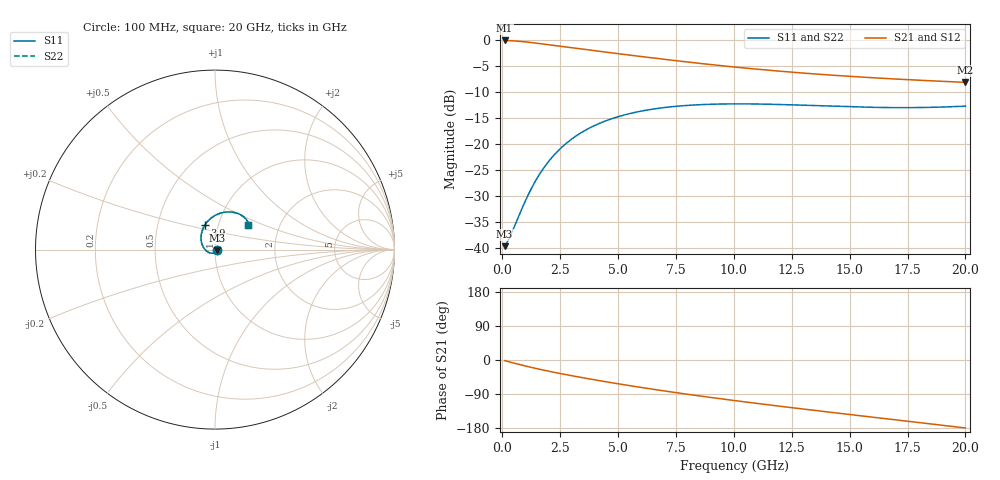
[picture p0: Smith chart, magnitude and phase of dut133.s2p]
! Touchstone file exported from HFSS 2023.1.0
!  File:  D:/Users/fzz/RDL_TSV/temp_RDL_TSV_133_1778751709.aedt
!  Generated:  5:55:17 %x4E0B%x5348  5%x6708 14, 2026
!  Design:  RDL_TSV
!  Project:  temp_RDL_TSV_133_1778751709
!  Setup:  Setup1
!  Solution:  Sweep
! Variables:
!  dtsv = 11.93um
!  hbump = 3um
!  htsv = 71.53um
!  ldown = 651.48um
!  lrdl = 150.13um
!  p = 40
!  p1 = 48.97um
!  rhole = 10um
!  subl = 2554.96um
!  t = 450um
!  tdown = 4.83um
!  trdl = 2.53um
!  viad = 10um
!  wdown = 26.55um
!  wrdl = 22.5um
!  xbump = 18um
# GHz S MA R 50.000000
! Terminal data exported
! Port[1] = TM1_1_T1
! Port[2] = TM1_4_T1
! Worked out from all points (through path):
!   200 points, 100 MHz to 20 GHz, reference 50 ohm
!   highest |S21| = -0.09 dB at 100 MHz (marker M1); lowest = -8.2 dB at 20 GHz (marker M2)
!   group delay of S21, straight-line fit = 23.5 ps
!   lowest |S11| = -39.7 dB at 100 MHz (marker M3), VSWR 1.02, Z = 51 - j0.285 ohm
!   |S11| at or under -10 dB: start of sweep to end of sweep
!   |S22| runs from -39.7 to -12.3 dB; largest |S21 - S12| = 1.3e-14
!   S11 on the Smith chart (normalised r, x): 100 MHz: 1.02, -0.01; 3.9 GHz: 0.86, +0.24; 20 GHz: 1.38, +0.41
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0.1  0.01036 -15.6  0.9893 -1.7  0.9893 -1.7  0.01036 -15.6
! Gamma 0 0 0 0
! Port Impedance 50 0 50 0
0.2  0.0112 -32.1  0.9877 -3.3  0.9877 -3.3  0.0112 -32.1
0.4  0.01383 -64.5  0.9828 -6.6  0.9828 -6.6  0.01383 -64.5
0.9  0.02532 -124.9  0.9632 -14.3  0.9632 -14.3  0.02532 -124.8
1.2  0.03518 -149.4  0.9473 -18.8  0.9473 -18.8  0.03516 -149.3
1.7  0.05483 -179.2  0.9175 -25.7  0.9175 -25.7  0.05478 -179.2
2.1  0.0721 162.9  0.8929 -30.8  0.8929 -30.8  0.07202 163.0
2.5  0.08973 148.5  0.8688 -35.7  0.8688 -35.7  0.08962 148.5
3  0.1113 133.7  0.84 -41.5  0.84 -41.5  0.1112 133.7
3.5  0.1318 121.4  0.8126 -47.1  0.8126 -47.1  0.1316 121.4
3.9  0.1469 112.9  0.7917 -51.4  0.7917 -51.4  0.1467 113.0
4.5  0.1675 101.9  0.7617 -57.7  0.7617 -57.7  0.1673 101.9
5.2  0.1879 91.1  0.7285 -64.7  0.7285 -64.7  0.1877 91.1
6.8  0.2208 71.9  0.6592 -79.9  0.6592 -79.9  0.2205 71.9
8.4  0.2375 58.1  0.5996 -93.8  0.5996 -93.8  0.2371 58.1
10.1  0.2427 47.6  0.547 -107.6  0.547 -107.6  0.2423 47.6
11.7  0.2402 40.9  0.5069 -119.9  0.5069 -119.9  0.2398 40.9
13.4  0.2338 36.5  0.4726 -132.4  0.4726 -132.4  0.2335 36.6
15  0.2275 34.6  0.4466 -143.9  0.4466 -143.9  0.2272 34.7
16.7  0.2235 34.6  0.4242 -155.9  0.4242 -155.9  0.2232 34.6
18.3  0.2242 35.7  0.4066 -167.3  0.4066 -167.3  0.2239 35.8
20  0.2307 37.2  0.3908 -179.3  0.3908 -179.3  0.2305 37.3
